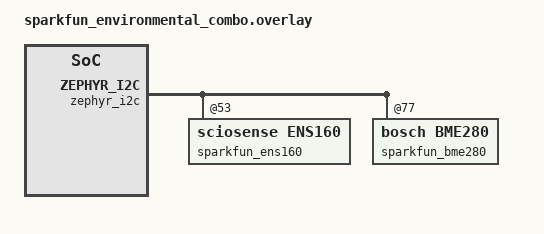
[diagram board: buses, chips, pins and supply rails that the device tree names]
/*
 * Copyright (c) 2025 Jonas Berg
 *
 * SPDX-License-Identifier: Apache-2.0
 */

&zephyr_i2c {
	status = "okay";

	sparkfun_ens160: ens160@53 {
		status = "okay";
		compatible = "sciosense,ens160";
		reg = <0x53>;
	};

	sparkfun_bme280: bme280@77 {
		status = "okay";
		compatible = "bosch,bme280";
		reg = <0x77>;
	};
};
